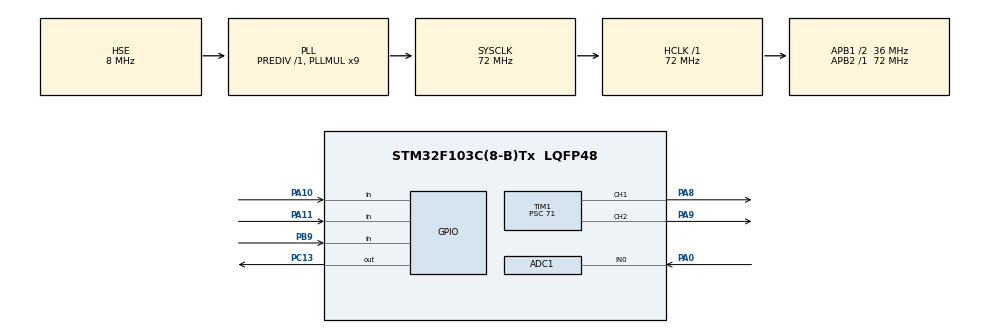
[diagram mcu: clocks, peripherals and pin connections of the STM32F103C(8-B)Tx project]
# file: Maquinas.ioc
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ADC1.Channel-0\#ChannelRegularConversion=ADC_CHANNEL_0
ADC1.Channel-16\#ChannelRegularConversion=ADC_CHANNEL_0
ADC1.Channel-17\#ChannelRegularConversion=ADC_CHANNEL_0
ADC1.Channel-18\#ChannelRegularConversion=ADC_CHANNEL_0
ADC1.Channel-19\#ChannelRegularConversion=ADC_CHANNEL_0
ADC1.Channel-20\#ChannelRegularConversion=ADC_CHANNEL_0
ADC1.Channel-21\#ChannelRegularConversion=ADC_CHANNEL_0
ADC1.Channel-22\#ChannelRegularConversion=ADC_CHANNEL_0
ADC1.Channel-23\#ChannelRegularConversion=ADC_CHANNEL_0
ADC1.Channel-24\#ChannelRegularConversion=ADC_CHANNEL_0
ADC1.Channel-25\#ChannelRegularConversion=ADC_CHANNEL_0
ADC1.Channel-26\#ChannelRegularConversion=ADC_CHANNEL_0
ADC1.Channel-27\#ChannelRegularConversion=ADC_CHANNEL_0
ADC1.Channel-28\#ChannelRegularConversion=ADC_CHANNEL_0
ADC1.Channel-29\#ChannelRegularConversion=ADC_CHANNEL_0
ADC1.Channel-30\#ChannelRegularConversion=ADC_CHANNEL_0
ADC1.NbrOfConversion=16
ADC1.NbrOfConversionFlag=1
ADC1.Rank-0\#ChannelRegularConversion=1
ADC1.Rank-16\#ChannelRegularConversion=2
ADC1.Rank-17\#ChannelRegularConversion=3
ADC1.Rank-18\#ChannelRegularConversion=4
ADC1.Rank-19\#ChannelRegularConversion=5
ADC1.Rank-20\#ChannelRegularConversion=6
ADC1.Rank-21\#ChannelRegularConversion=7
ADC1.Rank-22\#ChannelRegularConversion=8
ADC1.Rank-23\#ChannelRegularConversion=9
ADC1.Rank-24\#ChannelRegularConversion=10
ADC1.Rank-25\#ChannelRegularConversion=11
ADC1.Rank-26\#ChannelRegularConversion=12
ADC1.Rank-27\#ChannelRegularConversion=13
ADC1.Rank-28\#ChannelRegularConversion=14
ADC1.Rank-29\#ChannelRegularConversion=15
ADC1.Rank-30\#ChannelRegularConversion=16
ADC1.SamplingTime-0\#ChannelRegularConversion=ADC_SAMPLETIME_1CYCLE_5
ADC1.SamplingTime-16\#ChannelRegularConversion=ADC_SAMPLETIME_1CYCLE_5
ADC1.SamplingTime-17\#ChannelRegularConversion=ADC_SAMPLETIME_1CYCLE_5
ADC1.SamplingTime-18\#ChannelRegularConversion=ADC_SAMPLETIME_1CYCLE_5
ADC1.SamplingTime-19\#ChannelRegularConversion=ADC_SAMPLETIME_1CYCLE_5
ADC1.SamplingTime-20\#ChannelRegularConversion=ADC_SAMPLETIME_1CYCLE_5
ADC1.SamplingTime-21\#ChannelRegularConversion=ADC_SAMPLETIME_1CYCLE_5
ADC1.SamplingTime-22\#ChannelRegularConversion=ADC_SAMPLETIME_1CYCLE_5
ADC1.SamplingTime-23\#ChannelRegularConversion=ADC_SAMPLETIME_1CYCLE_5
ADC1.SamplingTime-24\#ChannelRegularConversion=ADC_SAMPLETIME_1CYCLE_5
ADC1.SamplingTime-25\#ChannelRegularConversion=ADC_SAMPLETIME_1CYCLE_5
ADC1.SamplingTime-26\#ChannelRegularConversion=ADC_SAMPLETIME_1CYCLE_5
ADC1.SamplingTime-27\#ChannelRegularConversion=ADC_SAMPLETIME_1CYCLE_5
ADC1.SamplingTime-28\#ChannelRegularConversion=ADC_SAMPLETIME_1CYCLE_5
ADC1.SamplingTime-29\#ChannelRegularConversion=ADC_SAMPLETIME_1CYCLE_5
ADC1.SamplingTime-30\#ChannelRegularConversion=ADC_SAMPLETIME_1CYCLE_5
ADC1.master=1
Mcu.Family=STM32F1
Mcu.Name=STM32F103C(8-B)Tx
Mcu.Package=LQFP48
NVIC.PriorityGroup=NVIC_PRIORITYGROUP_4
NVIC.TIM2_IRQn=true\:0\:0\:false\:false\:true\:true
PA0-WKUP.Signal=ADCx_IN0
PA10.Signal=GPIO_Input
PA11.Signal=GPIO_Input
PA13.Mode=Serial_Wire
PA13.Signal=SYS_JTMS-SWDIO
PA14.Mode=Serial_Wire
PA14.Signal=SYS_JTCK-SWCLK
PA8.Signal=S_TIM1_CH1
PA9.Signal=S_TIM1_CH2
PB9.Signal=GPIO_Input
PC13-TAMPER-RTC.Signal=GPIO_Output
PD0-OSC_IN.Mode=HSE-External-Oscillator
PD0-OSC_IN.Signal=RCC_OSC_IN
PD1-OSC_OUT.Mode=HSE-External-Oscillator
PD1-OSC_OUT.Signal=RCC_OSC_OUT
ProjectManager.HeapSize=0x200
ProjectManager.StackSize=0x400
ProjectManager.TargetToolchain=TrueSTUDIO
RCC.ADCPresc=RCC_ADCPCLK2_DIV6
RCC.AHBFreq_Value=72000000
RCC.APB1CLKDivider=RCC_HCLK_DIV2
RCC.APB1Freq_Value=36000000
RCC.APB1TimFreq_Value=72000000
RCC.APB2Freq_Value=72000000
RCC.APB2TimFreq_Value=72000000
RCC.HCLKFreq_Value=72000000
RCC.PLLMUL=RCC_PLL_MUL9
RCC.PLLSourceVirtual=RCC_PLLSOURCE_HSE
RCC.SYSCLKFreq_VALUE=72000000
RCC.SYSCLKSource=RCC_SYSCLKSOURCE_PLLCLK
RCC.USBFreq_Value=48000000
RCC.USBPrescaler=RCC_USBCLKSOURCE_PLL_DIV1_5
SH.ADCx_IN0.0=ADC1_IN0,IN0
SH.S_TIM1_CH1.0=TIM1_CH1,PWM Generation1 CH1
SH.S_TIM1_CH2.0=TIM1_CH2,PWM Generation2 CH2
TIM1.Channel-PWM\ Generation1\ CH1=TIM_CHANNEL_1
TIM1.Channel-PWM\ Generation2\ CH2=TIM_CHANNEL_2
TIM1.Period=99
TIM1.Prescaler=71
TIM2.Period=99
TIM2.Prescaler=719
VP_TIM2_VS_ClockSourceINT.Mode=Internal
board=custom

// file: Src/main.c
/* USER CODE BEGIN Header */
/**
  ******************************************************************************
  * @file           : main.c
  * @brief          : Main program body
  ******************************************************************************
  * This notice applies to any and all portions of this file
  * that are not between comment pairs USER CODE BEGIN and
  * USER CODE END. Other portions of this file, whether
  * inserted by the user or by software development tools
  * are owned by their respective copyright owners.
  *
  * Copyright (c) 2019 STMicroelectronics International N.V.
  * All rights reserved.
  *
  * Redistribution and use in source and binary forms, with or without
  * modification, are permitted, provided that the following conditions are met:
  *
  * 1. Redistribution of source code must retain the above copyright notice,
  *    this list of conditions and the following disclaimer.
  * 2. Redistributions in binary form must reproduce the above copyright notice,
  *    this list of conditions and the following disclaimer in the documentation
  *    and/or other materials provided with the distribution.
  * 3. Neither the name of STMicroelectronics nor the names of other
  *    contributors to this software may be used to endorse or promote products
  *    derived from this software without specific written permission.
  * 4. This software, including modifications and/or derivative works of this
  *    software, must execute solely and exclusively on microcontroller or
  *    microprocessor devices manufactured by or for STMicroelectronics.
  * 5. Redistribution and use of this software other than as permitted under
  *    this license is void and will automatically terminate your rights under
  *    this license.
  *
  * THIS SOFTWARE IS PROVIDED BY STMICROELECTRONICS AND CONTRIBUTORS "AS IS"
  * AND ANY EXPRESS, IMPLIED OR STATUTORY WARRANTIES, INCLUDING, BUT NOT
  * LIMITED TO, THE IMPLIED WARRANTIES OF MERCHANTABILITY, FITNESS FOR A
  * PARTICULAR PURPOSE AND NON-INFRINGEMENT OF THIRD PARTY INTELLECTUAL PROPERTY
  * RIGHTS ARE DISCLAIMED TO THE FULLEST EXTENT PERMITTED BY LAW. IN NO EVENT
  * SHALL STMICROELECTRONICS OR CONTRIBUTORS BE LIABLE FOR ANY DIRECT, INDIRECT,
  * INCIDENTAL, SPECIAL, EXEMPLARY, OR CONSEQUENTIAL DAMAGES (INCLUDING, BUT NOT
  * LIMITED TO, PROCUREMENT OF SUBSTITUTE GOODS OR SERVICES; LOSS OF USE, DATA,
  * OR PROFITS; OR BUSINESS INTERRUPTION) HOWEVER CAUSED AND ON ANY THEORY OF
  * LIABILITY, WHETHER IN CONTRACT, STRICT LIABILITY, OR TORT (INCLUDING
  * NEGLIGENCE OR OTHERWISE) ARISING IN ANY WAY OUT OF THE USE OF THIS SOFTWARE,
  * EVEN IF ADVISED OF THE POSSIBILITY OF SUCH DAMAGE.
  *
  ******************************************************************************
  */
/* USER CODE END Header */

#include "main.h"

/* USER CODE BEGIN PD */
typedef enum{
	MOTOR_SEARCH=0,
	MOTOR_STB,
	MOTOR_ATTACK,
	MOTOR_DER,
	MOTOR_IZQ,
	MOTOR_OUT,
}ST_MOTOR;
typedef enum{
	SP_UP=0,
	SP_CHECK,
}ST_SP;
typedef enum{
	SD_DETECT=0,
	SD_CHECK,
}ST_SD;
typedef enum{
	SB_CHECK=0,
	SB_OPRIMIDO,
}ST_SB;
enum{

		TP,
		TI,
		TR,
		TIMERS,
 };
/* USER CODE END PD */

ADC_HandleTypeDef hadc1;

TIM_HandleTypeDef htim1;
TIM_HandleTypeDef htim2;

/* USER CODE BEGIN PV */
ST_SP sensor1=SP_CHECK, sensor2=SP_CHECK;
ST_MOTOR motor1=MOTOR_STB;
ST_SD distancia=SD_CHECK;
ST_SB boton=SB_CHECK;

 volatile uint16_t timers[TIMERS];
 volatile int tiempo=1000,bandera=0;
 volatile char texto[32];
 volatile uint16_t ADC=0;
 volatile int voltaje=0;
/* USER CODE END PV */

void SystemClock_Config(void);
static void MX_GPIO_Init(void);
static void MX_TIM2_Init(void);
static void MX_ADC1_Init(void);
static void MX_TIM1_Init(void);
/* USER CODE BEGIN PFP */
void CDC_Receive_Callback(uint8_t *buf,uint32_t len);
void Sensores_piso();
void Sensores_piso1();
void Sensores_piso2();
void Sensor_distancia();
void Motores();
void Button();
/* USER CODE END PFP */

int main(void)
{

  /* MCU Configuration--------------------------------------------------------*/

  /* Reset of all peripherals, Initializes the Flash interface and the Systick. */
  HAL_Init();

  /* Configure the system clock */
  SystemClock_Config();

  /* Initialize all configured peripherals */
  MX_GPIO_Init();
  MX_TIM2_Init();
  MX_ADC1_Init();
  MX_TIM1_Init();
  /* USER CODE BEGIN 2 */
  HAL_TIM_Base_Start_IT(&htim2);
  HAL_TIM_PWM_Start(&htim1,TIM_CHANNEL_1);
  HAL_TIM_PWM_Start(&htim1,TIM_CHANNEL_2);
  motor1=MOTOR_STB;
  __HAL_TIM_SET_COMPARE(&htim1, TIM_CHANNEL_1,50);
  __HAL_TIM_SET_COMPARE(&htim1, TIM_CHANNEL_2,50);
  /* USER CODE END 2 */

  /* Infinite loop */
  /* USER CODE BEGIN WHILE */
  while (1)
  {

	 /* if(HAL_GPIO_ReadPin(GPIOB,GPIO_PIN_12)==1){ //blanco=Led apagado, negro=Led prendido sensores de piso
		  bandera=1;// 0 detecta, 1 no detecta para sensor de distancia
		  HAL_GPIO_WritePin(GPIOC,GPIO_PIN_13,0);
	  }else if(HAL_GPIO_ReadPin(GPIOB,GPIO_PIN_12)==0){
		  HAL_GPIO_WritePin(GPIOC,GPIO_PIN_13,1);
		  bandera=2;
	  }*/
	//  __HAL_TIM_SET_COMPARE(&htim1, TIM_CHANNEL_2,i);

	  Button();
	  if(bandera==1){

		Sensor_distancia();
		Sensores_piso();
		Sensores_piso1();
		Sensores_piso2();
		Motores();
	  }

    /* USER CODE END WHILE */

  }
}

void SystemClock_Config(void)
{
  RCC_OscInitTypeDef RCC_OscInitStruct = {0};
  RCC_ClkInitTypeDef RCC_ClkInitStruct = {0};
  RCC_PeriphCLKInitTypeDef PeriphClkInit = {0};

  /**Initializes the CPU, AHB and APB busses clocks
  */
  RCC_OscInitStruct.OscillatorType = RCC_OSCILLATORTYPE_HSE;
  RCC_OscInitStruct.HSEState = RCC_HSE_ON;
  RCC_OscInitStruct.HSEPredivValue = RCC_HSE_PREDIV_DIV1;
  RCC_OscInitStruct.HSIState = RCC_HSI_ON;
  RCC_OscInitStruct.PLL.PLLState = RCC_PLL_ON;
  RCC_OscInitStruct.PLL.PLLSource = RCC_PLLSOURCE_HSE;
  RCC_OscInitStruct.PLL.PLLMUL = RCC_PLL_MUL9;
  if (HAL_RCC_OscConfig(&RCC_OscInitStruct) != HAL_OK)
  {
    Error_Handler();
  }
  /**Initializes the CPU, AHB and APB busses clocks
  */
  RCC_ClkInitStruct.ClockType = RCC_CLOCKTYPE_HCLK|RCC_CLOCKTYPE_SYSCLK
                              |RCC_CLOCKTYPE_PCLK1|RCC_CLOCKTYPE_PCLK2;
  RCC_ClkInitStruct.SYSCLKSource = RCC_SYSCLKSOURCE_PLLCLK;
  RCC_ClkInitStruct.AHBCLKDivider = RCC_SYSCLK_DIV1;
  RCC_ClkInitStruct.APB1CLKDivider = RCC_HCLK_DIV2;
  RCC_ClkInitStruct.APB2CLKDivider = RCC_HCLK_DIV1;

  if (HAL_RCC_ClockConfig(&RCC_ClkInitStruct, FLASH_LATENCY_2) != HAL_OK)
  {
    Error_Handler();
  }
  PeriphClkInit.PeriphClockSelection = RCC_PERIPHCLK_ADC;
  PeriphClkInit.AdcClockSelection = RCC_ADCPCLK2_DIV6;
  if (HAL_RCCEx_PeriphCLKConfig(&PeriphClkInit) != HAL_OK)
  {
    Error_Handler();
  }
}

static void MX_ADC1_Init(void)
{

  ADC_ChannelConfTypeDef sConfig = {0};

  /**Common config
  */
  hadc1.Instance = ADC1;
  hadc1.Init.ScanConvMode = ADC_SCAN_ENABLE;
  hadc1.Init.ContinuousConvMode = DISABLE;
  hadc1.Init.DiscontinuousConvMode = DISABLE;
  hadc1.Init.ExternalTrigConv = ADC_SOFTWARE_START;
  hadc1.Init.DataAlign = ADC_DATAALIGN_RIGHT;
  hadc1.Init.NbrOfConversion = 16;
  if (HAL_ADC_Init(&hadc1) != HAL_OK)
  {
    Error_Handler();
  }
  /**Configure Regular Channel
  */
  sConfig.Channel = ADC_CHANNEL_0;
  sConfig.Rank = ADC_REGULAR_RANK_1;
  sConfig.SamplingTime = ADC_SAMPLETIME_1CYCLE_5;
  if (HAL_ADC_ConfigChannel(&hadc1, &sConfig) != HAL_OK)
  {
    Error_Handler();
  }
  /**Configure Regular Channel
  */
  sConfig.Rank = ADC_REGULAR_RANK_2;
  if (HAL_ADC_ConfigChannel(&hadc1, &sConfig) != HAL_OK)
  {
    Error_Handler();
  }
  /**Configure Regular Channel
  */
  sConfig.Rank = ADC_REGULAR_RANK_3;
  if (HAL_ADC_ConfigChannel(&hadc1, &sConfig) != HAL_OK)
  {
    Error_Handler();
  }
  /**Configure Regular Channel
  */
  sConfig.Rank = ADC_REGULAR_RANK_4;
  if (HAL_ADC_ConfigChannel(&hadc1, &sConfig) != HAL_OK)
  {
    Error_Handler();
  }
  /**Configure Regular Channel
  */
  sConfig.Rank = ADC_REGULAR_RANK_5;
  if (HAL_ADC_ConfigChannel(&hadc1, &sConfig) != HAL_OK)
  {
    Error_Handler();
  }
  /**Configure Regular Channel
  */
  sConfig.Rank = ADC_REGULAR_RANK_6;
  if (HAL_ADC_ConfigChannel(&hadc1, &sConfig) != HAL_OK)
  {
    Error_Handler();
  }
  /**Configure Regular Channel
  */
  sConfig.Rank = ADC_REGULAR_RANK_7;
  if (HAL_ADC_ConfigChannel(&hadc1, &sConfig) != HAL_OK)
  {
    Error_Handler();
  }
  /**Configure Regular Channel
  */
  sConfig.Rank = ADC_REGULAR_RANK_8;
  if (HAL_ADC_ConfigChannel(&hadc1, &sConfig) != HAL_OK)
  {
    Error_Handler();
  }
  /**Configure Regular Channel
  */
  sConfig.Rank = ADC_REGULAR_RANK_9;
  if (HAL_ADC_ConfigChannel(&hadc1, &sConfig) != HAL_OK)
  {
    Error_Handler();
  }
  /**Configure Regular Channel
  */
  sConfig.Rank = ADC_REGULAR_RANK_10;
  if (HAL_ADC_ConfigChannel(&hadc1, &sConfig) != HAL_OK)
  {
    Error_Handler();
  }
  /**Configure Regular Channel
  */
  sConfig.Rank = ADC_REGULAR_RANK_11;
  if (HAL_ADC_ConfigChannel(&hadc1, &sConfig) != HAL_OK)
  {
    Error_Handler();
  }
  /**Configure Regular Channel
  */
  sConfig.Rank = ADC_REGULAR_RANK_12;
  if (HAL_ADC_ConfigChannel(&hadc1, &sConfig) != HAL_OK)
  {
    Error_Handler();
  }
  /**Configure Regular Channel
  */
  sConfig.Rank = ADC_REGULAR_RANK_13;
  if (HAL_ADC_ConfigChannel(&hadc1, &sConfig) != HAL_OK)
  {
    Error_Handler();
  }
  /**Configure Regular Channel
  */
  sConfig.Rank = ADC_REGULAR_RANK_14;
  if (HAL_ADC_ConfigChannel(&hadc1, &sConfig) != HAL_OK)
  {
    Error_Handler();
  }
  /**Configure Regular Channel
  */
  sConfig.Rank = ADC_REGULAR_RANK_15;
  if (HAL_ADC_ConfigChannel(&hadc1, &sConfig) != HAL_OK)
  {
    Error_Handler();
  }
  /**Configure Regular Channel
  */
  sConfig.Rank = ADC_REGULAR_RANK_16;
  if (HAL_ADC_ConfigChannel(&hadc1, &sConfig) != HAL_OK)
  {
    Error_Handler();
  }

}

static void MX_TIM1_Init(void)
{

  TIM_MasterConfigTypeDef sMasterConfig = {0};
  TIM_OC_InitTypeDef sConfigOC = {0};
  TIM_BreakDeadTimeConfigTypeDef sBreakDeadTimeConfig = {0};

  htim1.Instance = TIM1;
  htim1.Init.Prescaler = 71;
  htim1.Init.CounterMode = TIM_COUNTERMODE_UP;
  htim1.Init.Period = 99;
  htim1.Init.ClockDivision = TIM_CLOCKDIVISION_DIV1;
  htim1.Init.RepetitionCounter = 0;
  htim1.Init.AutoReloadPreload = TIM_AUTORELOAD_PRELOAD_DISABLE;
  if (HAL_TIM_PWM_Init(&htim1) != HAL_OK)
  {
    Error_Handler();
  }
  sMasterConfig.MasterOutputTrigger = TIM_TRGO_RESET;
  sMasterConfig.MasterSlaveMode = TIM_MASTERSLAVEMODE_DISABLE;
  if (HAL_TIMEx_MasterConfigSynchronization(&htim1, &sMasterConfig) != HAL_OK)
  {
    Error_Handler();
  }
  sConfigOC.OCMode = TIM_OCMODE_PWM1;
  sConfigOC.Pulse = 0;
  sConfigOC.OCPolarity = TIM_OCPOLARITY_HIGH;
  sConfigOC.OCNPolarity = TIM_OCNPOLARITY_HIGH;
  sConfigOC.OCFastMode = TIM_OCFAST_DISABLE;
  sConfigOC.OCIdleState = TIM_OCIDLESTATE_RESET;
  sConfigOC.OCNIdleState = TIM_OCNIDLESTATE_RESET;
  if (HAL_TIM_PWM_ConfigChannel(&htim1, &sConfigOC, TIM_CHANNEL_1) != HAL_OK)
  {
    Error_Handler();
  }
  if (HAL_TIM_PWM_ConfigChannel(&htim1, &sConfigOC, TIM_CHANNEL_2) != HAL_OK)
  {
    Error_Handler();
  }
  sBreakDeadTimeConfig.OffStateRunMode = TIM_OSSR_DISABLE;
  sBreakDeadTimeConfig.OffStateIDLEMode = TIM_OSSI_DISABLE;
  sBreakDeadTimeConfig.LockLevel = TIM_LOCKLEVEL_OFF;
  sBreakDeadTimeConfig.DeadTime = 0;
  sBreakDeadTimeConfig.BreakState = TIM_BREAK_DISABLE;
  sBreakDeadTimeConfig.BreakPolarity = TIM_BREAKPOLARITY_HIGH;
  sBreakDeadTimeConfig.AutomaticOutput = TIM_AUTOMATICOUTPUT_DISABLE;
  if (HAL_TIMEx_ConfigBreakDeadTime(&htim1, &sBreakDeadTimeConfig) != HAL_OK)
  {
    Error_Handler();
  }
  HAL_TIM_MspPostInit(&htim1);

}

static void MX_TIM2_Init(void)
{

  TIM_ClockConfigTypeDef sClockSourceConfig = {0};
  TIM_MasterConfigTypeDef sMasterConfig = {0};

  htim2.Instance = TIM2;
  htim2.Init.Prescaler = 719;
  htim2.Init.CounterMode = TIM_COUNTERMODE_UP;
  htim2.Init.Period = 99;
  htim2.Init.ClockDivision = TIM_CLOCKDIVISION_DIV1;
  htim2.Init.AutoReloadPreload = TIM_AUTORELOAD_PRELOAD_DISABLE;
  if (HAL_TIM_Base_Init(&htim2) != HAL_OK)
  {
    Error_Handler();
  }
  sClockSourceConfig.ClockSource = TIM_CLOCKSOURCE_INTERNAL;
  if (HAL_TIM_ConfigClockSource(&htim2, &sClockSourceConfig) != HAL_OK)
  {
    Error_Handler();
  }
  sMasterConfig.MasterOutputTrigger = TIM_TRGO_RESET;
  sMasterConfig.MasterSlaveMode = TIM_MASTERSLAVEMODE_DISABLE;
  if (HAL_TIMEx_MasterConfigSynchronization(&htim2, &sMasterConfig) != HAL_OK)
  {
    Error_Handler();
  }

}

static void MX_GPIO_Init(void)
{
  GPIO_InitTypeDef GPIO_InitStruct = {0};

  /* GPIO Ports Clock Enable */
  __HAL_RCC_GPIOC_CLK_ENABLE();
  __HAL_RCC_GPIOD_CLK_ENABLE();
  __HAL_RCC_GPIOA_CLK_ENABLE();
  __HAL_RCC_GPIOB_CLK_ENABLE();

  /*Configure GPIO pin Output Level */
  HAL_GPIO_WritePin(GPIOC, GPIO_PIN_13, GPIO_PIN_RESET);

  /*Configure GPIO pin : PC13 */
  GPIO_InitStruct.Pin = GPIO_PIN_13;
  GPIO_InitStruct.Mode = GPIO_MODE_OUTPUT_PP;
  GPIO_InitStruct.Pull = GPIO_NOPULL;
  GPIO_InitStruct.Speed = GPIO_SPEED_FREQ_LOW;
  HAL_GPIO_Init(GPIOC, &GPIO_InitStruct);

  /*Configure GPIO pins : PA10 PA11 */
  GPIO_InitStruct.Pin = GPIO_PIN_10|GPIO_PIN_11;
  GPIO_InitStruct.Mode = GPIO_MODE_INPUT;
  GPIO_InitStruct.Pull = GPIO_NOPULL;
  HAL_GPIO_Init(GPIOA, &GPIO_InitStruct);

  /*Configure GPIO pin : PB9 */
  GPIO_InitStruct.Pin = GPIO_PIN_9;
  GPIO_InitStruct.Mode = GPIO_MODE_INPUT;
  GPIO_InitStruct.Pull = GPIO_NOPULL;
  HAL_GPIO_Init(GPIOB, &GPIO_InitStruct);

}

/* USER CODE BEGIN 4 */
void HAL_TIM_PeriodElapsedCallback(TIM_HandleTypeDef *htim)
{
	if(htim->Instance==TIM2){
		uint16_t i;
		for(i=0;i<=TIMERS;i++){
			if(timers[i]!=0){
				timers[i]--;
			}
		}
	}
}
/*void led1_process(){
	switch(st_led1){
	case LED_STB:
		break;
	case LED_PAR:
		if(timers[TLED_1]==0){
		timers[TLED_1]=100;
		HAL_GPIO_TogglePin(GPIOA,GPIO_PIN_4);
		}
		st_led1=LED_CHECK;
		break;
	case LED_CHECK:
		if(timers[TLED1_T]==0){
			st_led1=LED_STB;
			HAL_GPIO_WritePin(GPIOA,GPIO_PIN_4,0);
		}
		st_led1=LED_PAR;
		break;
	}
}*/
void Button(){
	switch(boton){
	case SB_CHECK:
		  if(HAL_GPIO_ReadPin(GPIOB,GPIO_PIN_9)==1){
			  timers[TI]=5001;
		  }
		  if(timers[TI]==1){
			 boton=SB_OPRIMIDO;
			 bandera=1;
			}
		break;
	case SB_OPRIMIDO:
		motor1=MOTOR_SEARCH;
		boton=SB_CHECK;
			break;
	}
}
void Sensor_distancia(){
	switch(distancia){
	case SD_CHECK:
	  	  HAL_ADC_Start(&hadc1);
	 		 if(HAL_ADC_PollForConversion(&hadc1, 1)==HAL_OK){
	 		  ADC=HAL_ADC_GetValue(&hadc1);
	 		 }
	 			HAL_ADC_Stop(&hadc1);
		if(ADC>=730){
			distancia=SD_DETECT;
			HAL_GPIO_WritePin(GPIOC,GPIO_PIN_13,1);
		}else{
			motor1=MOTOR_SEARCH;;
		}
		break;
	case SD_DETECT:
		motor1=MOTOR_ATTACK;
		distancia=SD_CHECK;
		break;
	}

}
void Sensores_piso(){
		if(HAL_GPIO_ReadPin(GPIOA,GPIO_PIN_10)==0||HAL_GPIO_ReadPin(GPIOA,GPIO_PIN_12)==0){
			motor1=MOTOR_OUT;
		timers[TR]=700;
		}

}
void Sensores_piso1(){
	switch(sensor1){
		case SP_CHECK:
			if(HAL_GPIO_ReadPin(GPIOA,GPIO_PIN_10)==0){
			sensor1=SP_UP;
			}
			break;
		case SP_UP:
			motor1=MOTOR_DER;
			sensor1=SP_CHECK;
			break;
	}
}
void Sensores_piso2(){
	switch(sensor2){
		case SP_CHECK:
			if(HAL_GPIO_ReadPin(GPIOA,GPIO_PIN_12)==0){
			sensor2=SP_UP;
			}
			break;
		case SP_UP:
			motor1=MOTOR_IZQ;
			sensor2=SP_CHECK;
			break;
	}
}
void Motores(){
	if(timers[TR]!=0){
		motor1=MOTOR_OUT;

	}
	switch(motor1){
	case MOTOR_SEARCH:
	__HAL_TIM_SET_COMPARE(&htim1, TIM_CHANNEL_1,40);
	__HAL_TIM_SET_COMPARE(&htim1, TIM_CHANNEL_2,100);
	break;
	case MOTOR_OUT:
	__HAL_TIM_SET_COMPARE(&htim1, TIM_CHANNEL_1,80);
	__HAL_TIM_SET_COMPARE(&htim1, TIM_CHANNEL_2,80);
	motor1=MOTOR_SEARCH;
	break;
	case MOTOR_DER:
	__HAL_TIM_SET_COMPARE(&htim1, TIM_CHANNEL_1,100);
	__HAL_TIM_SET_COMPARE(&htim1, TIM_CHANNEL_2,50);
	motor1=MOTOR_SEARCH;
	break;
	case MOTOR_IZQ:
	__HAL_TIM_SET_COMPARE(&htim1, TIM_CHANNEL_1,50);
	__HAL_TIM_SET_COMPARE(&htim1, TIM_CHANNEL_2,100);
	motor1=MOTOR_SEARCH;
	break;
	case MOTOR_ATTACK:
	__HAL_TIM_SET_COMPARE(&htim1, TIM_CHANNEL_1,0);
	__HAL_TIM_SET_COMPARE(&htim1, TIM_CHANNEL_2,0);
	break;
	case MOTOR_STB:
		__HAL_TIM_SET_COMPARE(&htim1, TIM_CHANNEL_1,50);
		__HAL_TIM_SET_COMPARE(&htim1, TIM_CHANNEL_2,50);
	break;
}
}
void CDC_Receive_Callback(uint8_t *buf,uint32_t len){
	HAL_GPIO_TogglePin(GPIOC,GPIO_PIN_13);

}

/* USER CODE END 4 */

void Error_Handler(void)
{
}

/************************ (C) COPYRIGHT STMicroelectronics *****END OF FILE****/
